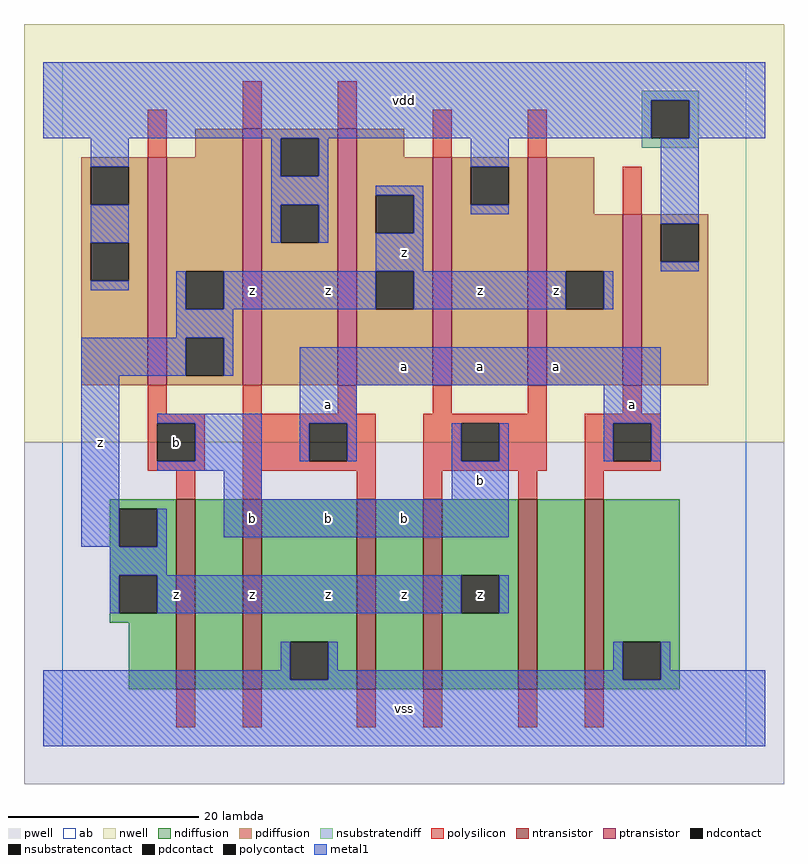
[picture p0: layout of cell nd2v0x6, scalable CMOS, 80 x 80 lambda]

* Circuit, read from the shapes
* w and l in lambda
.subckt nd2v0x6 a b vdd vss z
M1 n1 b z VSUBS nfet w=20 l=2
M2 vss a n1 VSUBS nfet w=20 l=2
M3 n2 a vss VSUBS nfet w=20 l=2
M4 z b n2 VSUBS nfet w=20 l=2
M5 n3 b z VSUBS nfet w=20 l=2
M6 vss a n3 VSUBS nfet w=20 l=2
M7 z b vdd vdd pfet w=24 l=2 m=3
M8 vdd a z vdd pfet w=27 l=2 m=2
M9 vdd a z vdd pfet w=18 l=2
.ends

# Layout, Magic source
magic
tech scmos
<< ab >>
rect 0 0 72 72
<< pwell >>
rect -4 -4 76 32
<< nwell >>
rect -4 32 76 76
<< polysilicon >>
rect 9 62 11 67
rect 19 65 21 70
rect 29 65 31 70
rect 39 62 41 67
rect 49 62 51 67
rect 59 56 61 61
rect 9 35 11 38
rect 19 35 21 38
rect 29 35 31 38
rect 39 35 41 38
rect 49 35 51 38
rect 59 35 61 38
rect 9 34 15 35
rect 9 30 10 34
rect 14 30 15 34
rect 9 29 15 30
rect 19 34 33 35
rect 19 30 26 34
rect 30 30 33 34
rect 19 29 33 30
rect 12 26 14 29
rect 19 26 21 29
rect 31 26 33 29
rect 38 34 51 35
rect 38 30 42 34
rect 46 30 51 34
rect 38 29 51 30
rect 55 34 63 35
rect 55 30 58 34
rect 62 30 63 34
rect 55 29 63 30
rect 38 26 40 29
rect 48 26 50 29
rect 55 26 57 29
rect 12 2 14 6
rect 19 2 21 6
rect 31 2 33 6
rect 38 2 40 6
rect 48 2 50 6
rect 55 2 57 6
<< ndiffusion >>
rect 5 25 12 26
rect 5 21 6 25
rect 10 21 12 25
rect 5 18 12 21
rect 5 14 6 18
rect 10 14 12 18
rect 5 13 12 14
rect 7 6 12 13
rect 14 6 19 26
rect 21 11 31 26
rect 21 7 24 11
rect 28 7 31 11
rect 21 6 31 7
rect 33 6 38 26
rect 40 18 48 26
rect 40 14 42 18
rect 46 14 48 18
rect 40 6 48 14
rect 50 6 55 26
rect 57 11 65 26
rect 57 7 59 11
rect 63 7 65 11
rect 57 6 65 7
<< pdiffusion >>
rect 14 62 19 65
rect 2 61 9 62
rect 2 57 3 61
rect 7 57 9 61
rect 2 53 9 57
rect 2 49 3 53
rect 7 49 9 53
rect 2 38 9 49
rect 11 50 19 62
rect 11 46 13 50
rect 17 46 19 50
rect 11 43 19 46
rect 11 39 13 43
rect 17 39 19 43
rect 11 38 19 39
rect 21 64 29 65
rect 21 60 23 64
rect 27 60 29 64
rect 21 57 29 60
rect 21 53 23 57
rect 27 53 29 57
rect 21 38 29 53
rect 31 62 36 65
rect 31 58 39 62
rect 31 54 33 58
rect 37 54 39 58
rect 31 50 39 54
rect 31 46 33 50
rect 37 46 39 50
rect 31 38 39 46
rect 41 61 49 62
rect 41 57 43 61
rect 47 57 49 61
rect 41 38 49 57
rect 51 56 56 62
rect 51 50 59 56
rect 51 46 53 50
rect 57 46 59 50
rect 51 38 59 46
rect 61 55 68 56
rect 61 51 63 55
rect 67 51 68 55
rect 61 38 68 51
<< metal1 >>
rect -2 68 74 72
rect -2 64 62 68
rect 66 64 74 68
rect 3 61 7 64
rect 3 53 7 57
rect 22 60 23 64
rect 27 60 28 64
rect 22 57 28 60
rect 43 61 47 64
rect 22 53 23 57
rect 27 53 28 57
rect 33 58 38 59
rect 37 54 38 58
rect 43 56 47 57
rect 33 50 38 54
rect 63 55 67 64
rect 63 50 67 51
rect 3 48 7 49
rect 12 46 13 50
rect 17 46 33 50
rect 37 46 53 50
rect 57 46 58 50
rect 12 43 18 46
rect 2 39 13 43
rect 17 39 18 43
rect 2 21 6 39
rect 25 38 63 42
rect 10 34 21 35
rect 14 30 21 34
rect 25 34 31 38
rect 57 34 63 38
rect 25 30 26 34
rect 30 30 31 34
rect 41 30 42 34
rect 46 30 47 34
rect 57 30 58 34
rect 62 30 63 34
rect 10 29 21 30
rect 17 26 21 29
rect 41 26 47 30
rect 10 21 11 25
rect 17 22 47 26
rect 5 18 11 21
rect 5 14 6 18
rect 10 14 42 18
rect 46 14 47 18
rect 23 8 24 11
rect -2 7 24 8
rect 28 8 29 11
rect 58 8 59 11
rect 28 7 59 8
rect 63 8 64 11
rect 63 7 74 8
rect -2 0 74 7
<< ntransistor >>
rect 12 6 14 26
rect 19 6 21 26
rect 31 6 33 26
rect 38 6 40 26
rect 48 6 50 26
rect 55 6 57 26
<< ptransistor >>
rect 9 38 11 62
rect 19 38 21 65
rect 29 38 31 65
rect 39 38 41 62
rect 49 38 51 62
rect 59 38 61 56
<< polycontact >>
rect 10 30 14 34
rect 26 30 30 34
rect 42 30 46 34
rect 58 30 62 34
<< ndcontact >>
rect 6 21 10 25
rect 6 14 10 18
rect 24 7 28 11
rect 42 14 46 18
rect 59 7 63 11
<< pdcontact >>
rect 3 57 7 61
rect 3 49 7 53
rect 13 46 17 50
rect 13 39 17 43
rect 23 60 27 64
rect 23 53 27 57
rect 33 54 37 58
rect 33 46 37 50
rect 43 57 47 61
rect 53 46 57 50
rect 63 51 67 55
<< nsubstratencontact >>
rect 62 64 66 68
<< nsubstratendiff >>
rect 61 68 67 69
rect 61 64 62 68
rect 66 64 67 68
rect 61 63 67 64
<< labels >>
rlabel metal1 4 32 4 32 6 z
rlabel metal1 20 16 20 16 6 z
rlabel metal1 12 16 12 16 6 z
rlabel metal1 20 24 20 24 6 b
rlabel polycontact 12 32 12 32 6 b
rlabel metal1 20 48 20 48 6 z
rlabel metal1 36 4 36 4 6 vss
rlabel metal1 36 16 36 16 6 z
rlabel metal1 28 16 28 16 6 z
rlabel metal1 28 24 28 24 6 b
rlabel metal1 36 24 36 24 6 b
rlabel metal1 28 36 28 36 6 a
rlabel metal1 36 40 36 40 6 a
rlabel metal1 28 48 28 48 6 z
rlabel metal1 36 52 36 52 6 z
rlabel metal1 36 68 36 68 6 vdd
rlabel ndcontact 44 16 44 16 6 z
rlabel metal1 44 28 44 28 6 b
rlabel metal1 44 40 44 40 6 a
rlabel metal1 52 40 52 40 6 a
rlabel metal1 44 48 44 48 6 z
rlabel metal1 52 48 52 48 6 z
rlabel metal1 60 36 60 36 6 a
<< end >>
